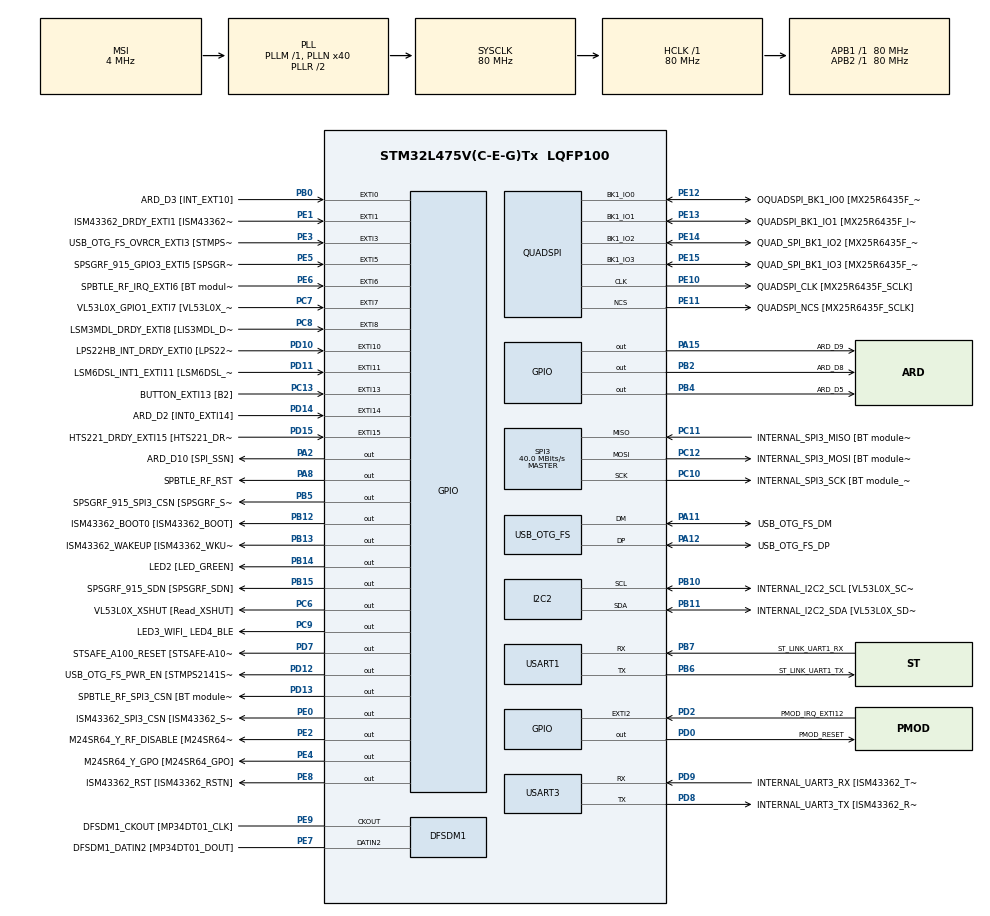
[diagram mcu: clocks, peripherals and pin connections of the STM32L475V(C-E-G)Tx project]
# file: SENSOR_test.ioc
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Mcu.Family=STM32L4
Mcu.Name=STM32L475V(C-E-G)Tx
Mcu.Package=LQFP100
NVIC.EXTI15_10_IRQn=true\:0\:0\:false\:false\:true\:true\:true
NVIC.EXTI9_5_IRQn=true\:0\:0\:false\:false\:true\:true\:true
NVIC.PriorityGroup=NVIC_PRIORITYGROUP_4
PA0.GPIO_Label=ARD_D1 [UART4_TX]
PA0.Signal=UART4_TX
PA1.GPIO_Label=ARD_D0 [UART4_RX]
PA1.Signal=UART4_RX
PA10.GPIO_Label=USB_OTG_FS_ID
PA10.Signal=USB_OTG_FS_ID
PA11.GPIO_Label=USB_OTG_FS_DM
PA11.Mode=Device_Only
PA11.Signal=USB_OTG_FS_DM
PA12.GPIO_Label=USB_OTG_FS_DP
PA12.Mode=Device_Only
PA12.Signal=USB_OTG_FS_DP
PA13\ (JTMS-SWDIO).GPIO_Label=SYS_JTMS_SWDIO
PA13\ (JTMS-SWDIO).Mode=Serial_Wire
PA13\ (JTMS-SWDIO).Signal=SYS_JTMS-SWDIO
PA14\ (JTCK-SWCLK).GPIO_Label=SYS_JTCK_SWCLK
PA14\ (JTCK-SWCLK).Mode=Serial_Wire
PA14\ (JTCK-SWCLK).Signal=SYS_JTCK-SWCLK
PA15\ (JTDI).GPIO_Label=ARD_D9
PA15\ (JTDI).Signal=GPIO_Output
PA2.GPIO_Label=ARD_D10 [SPI_SSN]
PA2.Signal=GPIO_Output
PA3.GPIO_Label=ARD_D4
PA3.Signal=S_TIM2_CH4
PA4.GPIO_Label=ARD_D7
PA4.Signal=ADCx_IN9
PA5.GPIO_Label=ARD_D13 [SPI1_SCK]
PA5.Signal=SPI1_SCK
PA6.GPIO_Label=ARD_D12 [SPI1_MISO]
PA6.Signal=SPI1_MISO
PA7.GPIO_Label=ARD_D11 [SPI1_MOSI]
PA7.Signal=SPI1_MOSI
PA8.GPIO_Label=SPBTLE_RF_RST
PA8.Signal=GPIO_Output
PA9.GPIO_Label=USB_OTG_FS_VBUS [STMPS2141STR_OUT]
PA9.Signal=USB_OTG_FS_VBUS
PB0.GPIO_Label=ARD_D3 [INT_EXT10]
PB0.Signal=GPXTI0
PB1.GPIO_Label=ARD_D6 [ADC1_IN6]
PB1.Signal=ADCx_IN16
PB10.GPIO_Label=INTERNAL_I2C2_SCL [VL53L0X_SCL]
PB10.Mode=I2C
PB10.Signal=I2C2_SCL
PB11.GPIO_Label=INTERNAL_I2C2_SDA [VL53L0X_SDA]
PB11.Mode=I2C
PB11.Signal=I2C2_SDA
PB12.GPIO_Label=ISM43362_BOOT0 [ISM43362_BOOT]
PB12.Signal=GPIO_Output
PB13.GPIO_Label=ISM43362_WAKEUP [ISM43362_WKUP]
PB13.Signal=GPIO_Output
PB14.GPIO_Label=LED2 [LED_GREEN]
PB14.Signal=GPIO_Output
PB15.GPIO_Label=SPSGRF_915_SDN [SPSGRF_SDN]
PB15.Signal=GPIO_Output
PB2.GPIO_Label=ARD_D8
PB2.Signal=GPIO_Output
PB3\ (JTDO-TRACESWO).GPIO_Label=SYS_JTD0_SWO
PB3\ (JTDO-TRACESWO).Signal=SYS_JTDO-SWO
PB4\ (NJTRST).GPIO_Label=ARD_D5
PB4\ (NJTRST).Signal=GPIO_Output
PB5.GPIO_Label=SPSGRF_915_SPI3_CSN [SPSGRF_SPI_CS]
PB5.PinState=GPIO_PIN_SET
PB5.Signal=GPIO_Output
PB6.GPIO_Label=ST_LINK_UART1_TX
PB6.Mode=Asynchronous
PB6.Signal=USART1_TX
PB7.GPIO_Label=ST_LINK_UART1_RX
PB7.Mode=Asynchronous
PB7.Signal=USART1_RX
PB8.GPIO_Label=ARD_D15 [I2C1_SCL]
PB8.Signal=I2C1_SCL
PB9.GPIO_Label=ARD_D14 [I2C1_SDA]
PB9.Signal=I2C1_SDA
PC0.GPIO_Label=ARD_A5 [ADC]
PC0.Signal=ADCx_IN1
PC1.GPIO_Label=ARD_A4 [ADC]
PC1.Signal=ADCx_IN2
PC10.GPIO_Label=INTERNAL_SPI3_SCK [BT module_SPI_SCLK] [ISM43362_SCK]
PC10.Mode=Full_Duplex_Master
PC10.Signal=SPI3_SCK
PC11.GPIO_Label=INTERNAL_SPI3_MISO [BT module_SPI_MISO] [ISM43362_MISO]
PC11.Mode=Full_Duplex_Master
PC11.Signal=SPI3_MISO
PC12.GPIO_Label=INTERNAL_SPI3_MOSI [BT module_SPI_MOSI] [ISM43362_MOSI]
PC12.Mode=Full_Duplex_Master
PC12.Signal=SPI3_MOSI
PC13.GPIO_Label=BUTTON_EXTI13 [B2]
PC13.GPIO_ModeDefaultEXTI=GPIO_MODE_IT_FALLING
PC13.Signal=GPXTI13
PC14-OSC32_IN\ (PC14).Mode=LSE-External-Oscillator
PC14-OSC32_IN\ (PC14).Signal=RCC_OSC32_IN
PC15-OSC32_OUT\ (PC15).Mode=LSE-External-Oscillator
PC15-OSC32_OUT\ (PC15).Signal=RCC_OSC32_OUT
PC2.GPIO_Label=ARD_A3 [ADC]
PC2.Signal=ADCx_IN3
PC3.GPIO_Label=ARD_A2 [ADC]
PC3.Signal=ADCx_IN4
PC4.GPIO_Label=ARD_A1 [ADC]
PC4.Signal=ADCx_IN13
PC5.GPIO_Label=ARD_A0 [ADC]
PC5.Signal=ADCx_IN14
PC6.GPIO_Label=VL53L0X_XSHUT [Read_XSHUT]
PC6.Signal=GPIO_Output
PC7.GPIO_Label=VL53L0X_GPIO1_EXTI7 [VL53L0X_GPIO1]
PC7.Signal=GPXTI7
PC8.GPIO_Label=LSM3MDL_DRDY_EXTI8 [LIS3MDL_DRDY]
PC8.Signal=GPXTI8
PC9.GPIO_Label=LED3_WIFI_ LED4_BLE
PC9.Signal=GPIO_Output
PD0.GPIO_Label=PMOD_RESET
PD0.Signal=GPIO_Output
PD1.GPIO_Label=PMOD_SPI2_SCK
PD1.Signal=SPI2_SCK
PD10.GPIO_Label=LPS22HB_INT_DRDY_EXTI0 [LPS22HB_INT_DRDY] 
PD10.Signal=GPXTI10
PD11.GPIO_Label=LSM6DSL_INT1_EXTI11 [LSM6DSL_INT1]
PD11.Signal=GPXTI11
PD12.GPIO_Label=USB_OTG_FS_PWR_EN [STMPS2141STR_EN]
PD12.Signal=GPIO_Output
PD13.GPIO_Label=SPBTLE_RF_SPI3_CSN [BT module_SPI_CS]
PD13.PinState=GPIO_PIN_SET
PD13.Signal=GPIO_Output
PD14.GPIO_Label=ARD_D2 [INT0_EXTI14]
PD14.Signal=GPXTI14
PD15.GPIO_Label=HTS221_DRDY_EXTI15 [HTS221_DRDY]
PD15.Signal=GPXTI15
PD2.GPIO_Label=PMOD_IRQ_EXTI12
PD2.Signal=GPXTI2
PD3.GPIO_Label=PMOD_UART2_CTS
PD3.Signal=USART2_CTS
PD4.GPIO_Label=PMOD_UART2_RTS
PD4.Signal=USART2_RTS
PD5.GPIO_Label=PMOD_UART2_TX
PD5.Signal=USART2_TX
PD6.GPIO_Label=PMOD_UART2_RX
PD6.Signal=USART2_RX
PD7.GPIO_Label=STSAFE_A100_RESET [STSAFE-A100_RESET]
PD7.Signal=GPIO_Output
PD8.GPIO_Label=INTERNAL_UART3_TX [ISM43362_RX]
PD8.Mode=Asynchronous
PD8.Signal=USART3_TX
PD9.GPIO_Label=INTERNAL_UART3_RX [ISM43362_TX]
PD9.Mode=Asynchronous
PD9.Signal=USART3_RX
PE0.GPIO_Label=ISM43362_SPI3_CSN [ISM43362_SSN]
PE0.PinState=GPIO_PIN_SET
PE0.Signal=GPIO_Output
PE1.GPIO_Label=ISM43362_DRDY_EXTI1 [ISM43362_DATARDY]
PE1.Signal=GPXTI1
PE10.GPIO_Label=QUADSPI_CLK [MX25R6435F_SCLK]
PE10.Mode=Single Bank
PE10.Signal=QUADSPI_CLK
PE11.GPIO_Label=QUADSPI_NCS [MX25R6435F_SCLK]
PE11.Mode=Single Bank
PE11.Signal=QUADSPI_NCS
PE12.GPIO_Label=OQUADSPI_BK1_IO0 [MX25R6435F_IO0]
PE12.Mode=Single Bank
PE12.Signal=QUADSPI_BK1_IO0
PE13.GPIO_Label=QUADSPI_BK1_IO1 [MX25R6435F_IO1]
PE13.Mode=Single Bank
PE13.Signal=QUADSPI_BK1_IO1
PE14.GPIO_Label=QUAD_SPI_BK1_IO2 [MX25R6435F_IO2]
PE14.Mode=Single Bank
PE14.Signal=QUADSPI_BK1_IO2
PE15.GPIO_Label=QUAD_SPI_BK1_IO3 [MX25R6435F_IO3]
PE15.Mode=Single Bank
PE15.Signal=QUADSPI_BK1_IO3
PE2.GPIO_Label=M24SR64_Y_RF_DISABLE [M24SR64_RFDIS]
PE2.Signal=GPIO_Output
PE3.GPIO_Label=USB_OTG_FS_OVRCR_EXTI3 [STMPS2141STR_FAULT]
PE3.Signal=GPXTI3
PE4.GPIO_Label=M24SR64_Y_GPO [M24SR64_GPO]
PE4.Signal=GPIO_Output
PE5.GPIO_Label=SPSGRF_915_GPIO3_EXTI5 [SPSGRF_GPIO_3]
PE5.Signal=GPXTI5
PE6.GPIO_Label=SPBTLE_RF_IRQ_EXTI6 [BT module_SPI_IRQ]
PE6.Signal=GPXTI6
PE7.GPIO_Label=DFSDM1_DATIN2 [MP34DT01_DOUT]
PE7.Signal=S_DATAIN2DFSDM1
PE8.GPIO_Label=ISM43362_RST [ISM43362_RSTN]
PE8.Signal=GPIO_Output
PE9.GPIO_Label=DFSDM1_CKOUT [MP34DT01_CLK]
PE9.Signal=S_CKOUTDFSDM1
ProjectManager.HeapSize=0x200
ProjectManager.StackSize=0x400
ProjectManager.TargetToolchain=TrueSTUDIO
QUADSPI.ClockPrescaler=2
QUADSPI.FifoThreshold=4
QUADSPI.FlashSize=23
QUADSPI.SampleShifting=QSPI_SAMPLE_SHIFTING_HALFCYCLE
RCC.ADCFreq_Value=48000000
RCC.AHBFreq_Value=80000000
RCC.APB1Freq_Value=80000000
RCC.APB1TimFreq_Value=80000000
RCC.APB2Freq_Value=80000000
RCC.APB2TimFreq_Value=80000000
RCC.CortexFreq_Value=80000000
RCC.HCLKFreq_Value=80000000
RCC.HSE_VALUE=8000000
RCC.HSI_VALUE=16000000
RCC.MSI_VALUE=4000000
RCC.PLLN=40
RCC.PLLSAI1N=24
RCC.SYSCLKFreq_VALUE=80000000
RCC.SYSCLKSource=RCC_SYSCLKSOURCE_PLLCLK
RCC.USBFreq_Value=48000000
RCC.VCOOutputFreq_Value=160000000
SH.ADCx_IN1.0=ADC1_IN1
SH.ADCx_IN13.0=ADC1_IN13
SH.ADCx_IN14.0=ADC1_IN14
SH.ADCx_IN16.0=ADC1_IN16
SH.ADCx_IN2.0=ADC1_IN2
SH.ADCx_IN3.0=ADC1_IN3
SH.ADCx_IN4.0=ADC1_IN4
SH.ADCx_IN9.0=ADC1_IN9
SH.S_CKOUTDFSDM1.0=DFSDM1_CKOUT,CKOUT
SH.S_CKOUTDFSDM1.1=DFSDM1_CKOUT,PDM_SPI_Input_from_ch12_and_Internal_Clock
SH.S_DATAIN2DFSDM1.0=DFSDM1_DATIN2,PDM_SPI_Input_from_ch12_and_Internal_Clock
SH.S_TIM2_CH4.0=TIM2_CH4
SPI3.CalculateBaudRate=40.0 MBits/s
SPI3.Direction=SPI_DIRECTION_2LINES
SPI3.Mode=SPI_MODE_MASTER
SPI3.VirtualType=VM_MASTER
USART1.VirtualMode-Asynchronous=VM_ASYNC
USART3.VirtualMode-Asynchronous=VM_ASYNC
USB_OTG_FS.VirtualMode=Device_Only
board=B-L475E-IOT01A1

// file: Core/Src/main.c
/* USER CODE BEGIN Header */
/**
  ******************************************************************************
  * @file           : main.c
  * @brief          : Main program body
  ******************************************************************************
  * @attention
  *
  * <h2><center>&copy; Copyright (c) 2021 STMicroelectronics.
  * All rights reserved.</center></h2>
  *
  * This software component is licensed by ST under BSD 3-Clause license,
  * the "License"; You may not use this file except in compliance with the
  * License. You may obtain a copy of the License at:
  *                        opensource.org/licenses/BSD-3-Clause
  *
  ******************************************************************************
  */
/* USER CODE END Header */
#include "main.h"

/* USER CODE BEGIN Includes */
#include "stm32l475e_iot01.h"
#include "stm32l475e_iot01_tsensor.h"
#include <math.h>
/* USER CODE END Includes */

DFSDM_Channel_HandleTypeDef hdfsdm1_channel1;

I2C_HandleTypeDef hi2c2;

QSPI_HandleTypeDef hqspi;

SPI_HandleTypeDef hspi3;

UART_HandleTypeDef huart1;
UART_HandleTypeDef huart3;

PCD_HandleTypeDef hpcd_USB_OTG_FS;

/* USER CODE BEGIN PV */
float temp_value = 0; // Measured temperature value
char str_tmp[100] = ""; // Formatted message to display the temperature value
uint8_t msg1[] = "****** Temperature values measurement ******\n\n\r";
uint8_t msg2[] = "=====> Initialize Temperature sensor HTS221 \r\n";
uint8_t msg3[] = "=====> Temperature sensor HTS221 initialized \r\n ";
/* USER CODE END PV */

void SystemClock_Config(void);
static void MX_GPIO_Init(void);
static void MX_DFSDM1_Init(void);
static void MX_I2C2_Init(void);
static void MX_QUADSPI_Init(void);
static void MX_SPI3_Init(void);
static void MX_USART1_UART_Init(void);
static void MX_USART3_UART_Init(void);
static void MX_USB_OTG_FS_PCD_Init(void);

int main(void)
{

  /* MCU Configuration--------------------------------------------------------*/

  /* Reset of all peripherals, Initializes the Flash interface and the Systick. */
  HAL_Init();

  /* Configure the system clock */
  SystemClock_Config();

  /* Initialize all configured peripherals */
  MX_GPIO_Init();
  MX_DFSDM1_Init();
  MX_I2C2_Init();
  MX_QUADSPI_Init();
  MX_SPI3_Init();
  MX_USART1_UART_Init();
  MX_USART3_UART_Init();
  MX_USB_OTG_FS_PCD_Init();
  /* USER CODE BEGIN 2 */
  HAL_UART_Transmit(&huart1,msg1,sizeof(msg1),1000);
  HAL_UART_Transmit(&huart1,msg2,sizeof(msg2),1000);
  BSP_TSENSOR_Init();
  HAL_UART_Transmit(&huart1,msg3,sizeof(msg3),1000);
  /* USER CODE END 2 */

  /* Infinite loop */
  while (1)
  {

    /* USER CODE BEGIN 3 */
	  temp_value = BSP_TSENSOR_ReadTemp();
	  int tmpInt1 = temp_value;
	  float tmpFrac = temp_value - tmpInt1;
	  int tmpInt2 = trunc(tmpFrac * 100);
	  snprintf(str_tmp,100," TEMPERATURE = %d.%02d\n\r", tmpInt1, tmpInt2);
	  HAL_UART_Transmit(&huart1,( uint8_t * )str_tmp,sizeof(str_tmp),1000);
  }
  /* USER CODE END 3 */
}

void SystemClock_Config(void)
{
  RCC_OscInitTypeDef RCC_OscInitStruct = {0};
  RCC_ClkInitTypeDef RCC_ClkInitStruct = {0};
  RCC_PeriphCLKInitTypeDef PeriphClkInit = {0};

  /** Configure LSE Drive Capability
  */
  HAL_PWR_EnableBkUpAccess();
  __HAL_RCC_LSEDRIVE_CONFIG(RCC_LSEDRIVE_LOW);
  /** Initializes the RCC Oscillators according to the specified parameters
  * in the RCC_OscInitTypeDef structure.
  */
  RCC_OscInitStruct.OscillatorType = RCC_OSCILLATORTYPE_LSE|RCC_OSCILLATORTYPE_MSI;
  RCC_OscInitStruct.LSEState = RCC_LSE_ON;
  RCC_OscInitStruct.MSIState = RCC_MSI_ON;
  RCC_OscInitStruct.MSICalibrationValue = 0;
  RCC_OscInitStruct.MSIClockRange = RCC_MSIRANGE_6;
  RCC_OscInitStruct.PLL.PLLState = RCC_PLL_ON;
  RCC_OscInitStruct.PLL.PLLSource = RCC_PLLSOURCE_MSI;
  RCC_OscInitStruct.PLL.PLLM = 1;
  RCC_OscInitStruct.PLL.PLLN = 40;
  RCC_OscInitStruct.PLL.PLLP = RCC_PLLP_DIV7;
  RCC_OscInitStruct.PLL.PLLQ = RCC_PLLQ_DIV2;
  RCC_OscInitStruct.PLL.PLLR = RCC_PLLR_DIV2;
  if (HAL_RCC_OscConfig(&RCC_OscInitStruct) != HAL_OK)
  {
    Error_Handler();
  }
  /** Initializes the CPU, AHB and APB buses clocks
  */
  RCC_ClkInitStruct.ClockType = RCC_CLOCKTYPE_HCLK|RCC_CLOCKTYPE_SYSCLK
                              |RCC_CLOCKTYPE_PCLK1|RCC_CLOCKTYPE_PCLK2;
  RCC_ClkInitStruct.SYSCLKSource = RCC_SYSCLKSOURCE_PLLCLK;
  RCC_ClkInitStruct.AHBCLKDivider = RCC_SYSCLK_DIV1;
  RCC_ClkInitStruct.APB1CLKDivider = RCC_HCLK_DIV1;
  RCC_ClkInitStruct.APB2CLKDivider = RCC_HCLK_DIV1;

  if (HAL_RCC_ClockConfig(&RCC_ClkInitStruct, FLASH_LATENCY_4) != HAL_OK)
  {
    Error_Handler();
  }
  PeriphClkInit.PeriphClockSelection = RCC_PERIPHCLK_USART1|RCC_PERIPHCLK_USART3
                              |RCC_PERIPHCLK_I2C2|RCC_PERIPHCLK_DFSDM1
                              |RCC_PERIPHCLK_USB;
  PeriphClkInit.Usart1ClockSelection = RCC_USART1CLKSOURCE_PCLK2;
  PeriphClkInit.Usart3ClockSelection = RCC_USART3CLKSOURCE_PCLK1;
  PeriphClkInit.I2c2ClockSelection = RCC_I2C2CLKSOURCE_PCLK1;
  PeriphClkInit.Dfsdm1ClockSelection = RCC_DFSDM1CLKSOURCE_PCLK;
  PeriphClkInit.UsbClockSelection = RCC_USBCLKSOURCE_PLLSAI1;
  PeriphClkInit.PLLSAI1.PLLSAI1Source = RCC_PLLSOURCE_MSI;
  PeriphClkInit.PLLSAI1.PLLSAI1M = 1;
  PeriphClkInit.PLLSAI1.PLLSAI1N = 24;
  PeriphClkInit.PLLSAI1.PLLSAI1P = RCC_PLLP_DIV7;
  PeriphClkInit.PLLSAI1.PLLSAI1Q = RCC_PLLQ_DIV2;
  PeriphClkInit.PLLSAI1.PLLSAI1R = RCC_PLLR_DIV2;
  PeriphClkInit.PLLSAI1.PLLSAI1ClockOut = RCC_PLLSAI1_48M2CLK;
  if (HAL_RCCEx_PeriphCLKConfig(&PeriphClkInit) != HAL_OK)
  {
    Error_Handler();
  }
  /** Configure the main internal regulator output voltage
  */
  if (HAL_PWREx_ControlVoltageScaling(PWR_REGULATOR_VOLTAGE_SCALE1) != HAL_OK)
  {
    Error_Handler();
  }
  /** Enable MSI Auto calibration
  */
  HAL_RCCEx_EnableMSIPLLMode();
}

static void MX_DFSDM1_Init(void)
{

  hdfsdm1_channel1.Instance = DFSDM1_Channel1;
  hdfsdm1_channel1.Init.OutputClock.Activation = ENABLE;
  hdfsdm1_channel1.Init.OutputClock.Selection = DFSDM_CHANNEL_OUTPUT_CLOCK_SYSTEM;
  hdfsdm1_channel1.Init.OutputClock.Divider = 2;
  hdfsdm1_channel1.Init.Input.Multiplexer = DFSDM_CHANNEL_EXTERNAL_INPUTS;
  hdfsdm1_channel1.Init.Input.DataPacking = DFSDM_CHANNEL_STANDARD_MODE;
  hdfsdm1_channel1.Init.Input.Pins = DFSDM_CHANNEL_FOLLOWING_CHANNEL_PINS;
  hdfsdm1_channel1.Init.SerialInterface.Type = DFSDM_CHANNEL_SPI_RISING;
  hdfsdm1_channel1.Init.SerialInterface.SpiClock = DFSDM_CHANNEL_SPI_CLOCK_INTERNAL;
  hdfsdm1_channel1.Init.Awd.FilterOrder = DFSDM_CHANNEL_FASTSINC_ORDER;
  hdfsdm1_channel1.Init.Awd.Oversampling = 1;
  hdfsdm1_channel1.Init.Offset = 0;
  hdfsdm1_channel1.Init.RightBitShift = 0x00;
  if (HAL_DFSDM_ChannelInit(&hdfsdm1_channel1) != HAL_OK)
  {
    Error_Handler();
  }

}

static void MX_I2C2_Init(void)
{

  hi2c2.Instance = I2C2;
  hi2c2.Init.Timing = 0x00000E14;
  hi2c2.Init.OwnAddress1 = 0;
  hi2c2.Init.AddressingMode = I2C_ADDRESSINGMODE_7BIT;
  hi2c2.Init.DualAddressMode = I2C_DUALADDRESS_DISABLE;
  hi2c2.Init.OwnAddress2 = 0;
  hi2c2.Init.OwnAddress2Masks = I2C_OA2_NOMASK;
  hi2c2.Init.GeneralCallMode = I2C_GENERALCALL_DISABLE;
  hi2c2.Init.NoStretchMode = I2C_NOSTRETCH_DISABLE;
  if (HAL_I2C_Init(&hi2c2) != HAL_OK)
  {
    Error_Handler();
  }
  /** Configure Analogue filter
  */
  if (HAL_I2CEx_ConfigAnalogFilter(&hi2c2, I2C_ANALOGFILTER_ENABLE) != HAL_OK)
  {
    Error_Handler();
  }
  /** Configure Digital filter
  */
  if (HAL_I2CEx_ConfigDigitalFilter(&hi2c2, 0) != HAL_OK)
  {
    Error_Handler();
  }

}

static void MX_QUADSPI_Init(void)
{

  /* QUADSPI parameter configuration*/
  hqspi.Instance = QUADSPI;
  hqspi.Init.ClockPrescaler = 2;
  hqspi.Init.FifoThreshold = 4;
  hqspi.Init.SampleShifting = QSPI_SAMPLE_SHIFTING_HALFCYCLE;
  hqspi.Init.FlashSize = 23;
  hqspi.Init.ChipSelectHighTime = QSPI_CS_HIGH_TIME_1_CYCLE;
  hqspi.Init.ClockMode = QSPI_CLOCK_MODE_0;
  if (HAL_QSPI_Init(&hqspi) != HAL_OK)
  {
    Error_Handler();
  }

}

static void MX_SPI3_Init(void)
{

  /* SPI3 parameter configuration*/
  hspi3.Instance = SPI3;
  hspi3.Init.Mode = SPI_MODE_MASTER;
  hspi3.Init.Direction = SPI_DIRECTION_2LINES;
  hspi3.Init.DataSize = SPI_DATASIZE_4BIT;
  hspi3.Init.CLKPolarity = SPI_POLARITY_LOW;
  hspi3.Init.CLKPhase = SPI_PHASE_1EDGE;
  hspi3.Init.NSS = SPI_NSS_SOFT;
  hspi3.Init.BaudRatePrescaler = SPI_BAUDRATEPRESCALER_2;
  hspi3.Init.FirstBit = SPI_FIRSTBIT_MSB;
  hspi3.Init.TIMode = SPI_TIMODE_DISABLE;
  hspi3.Init.CRCCalculation = SPI_CRCCALCULATION_DISABLE;
  hspi3.Init.CRCPolynomial = 7;
  hspi3.Init.CRCLength = SPI_CRC_LENGTH_DATASIZE;
  hspi3.Init.NSSPMode = SPI_NSS_PULSE_ENABLE;
  if (HAL_SPI_Init(&hspi3) != HAL_OK)
  {
    Error_Handler();
  }

}

static void MX_USART1_UART_Init(void)
{

  huart1.Instance = USART1;
  huart1.Init.BaudRate = 115200;
  huart1.Init.WordLength = UART_WORDLENGTH_8B;
  huart1.Init.StopBits = UART_STOPBITS_1;
  huart1.Init.Parity = UART_PARITY_NONE;
  huart1.Init.Mode = UART_MODE_TX_RX;
  huart1.Init.HwFlowCtl = UART_HWCONTROL_NONE;
  huart1.Init.OverSampling = UART_OVERSAMPLING_16;
  huart1.Init.OneBitSampling = UART_ONE_BIT_SAMPLE_DISABLE;
  huart1.AdvancedInit.AdvFeatureInit = UART_ADVFEATURE_NO_INIT;
  if (HAL_UART_Init(&huart1) != HAL_OK)
  {
    Error_Handler();
  }

}

static void MX_USART3_UART_Init(void)
{

  huart3.Instance = USART3;
  huart3.Init.BaudRate = 115200;
  huart3.Init.WordLength = UART_WORDLENGTH_8B;
  huart3.Init.StopBits = UART_STOPBITS_1;
  huart3.Init.Parity = UART_PARITY_NONE;
  huart3.Init.Mode = UART_MODE_TX_RX;
  huart3.Init.HwFlowCtl = UART_HWCONTROL_NONE;
  huart3.Init.OverSampling = UART_OVERSAMPLING_16;
  huart3.Init.OneBitSampling = UART_ONE_BIT_SAMPLE_DISABLE;
  huart3.AdvancedInit.AdvFeatureInit = UART_ADVFEATURE_NO_INIT;
  if (HAL_UART_Init(&huart3) != HAL_OK)
  {
    Error_Handler();
  }

}

static void MX_USB_OTG_FS_PCD_Init(void)
{

  hpcd_USB_OTG_FS.Instance = USB_OTG_FS;
  hpcd_USB_OTG_FS.Init.dev_endpoints = 6;
  hpcd_USB_OTG_FS.Init.speed = PCD_SPEED_FULL;
  hpcd_USB_OTG_FS.Init.phy_itface = PCD_PHY_EMBEDDED;
  hpcd_USB_OTG_FS.Init.Sof_enable = DISABLE;
  hpcd_USB_OTG_FS.Init.low_power_enable = DISABLE;
  hpcd_USB_OTG_FS.Init.lpm_enable = DISABLE;
  hpcd_USB_OTG_FS.Init.battery_charging_enable = DISABLE;
  hpcd_USB_OTG_FS.Init.use_dedicated_ep1 = DISABLE;
  hpcd_USB_OTG_FS.Init.vbus_sensing_enable = DISABLE;
  if (HAL_PCD_Init(&hpcd_USB_OTG_FS) != HAL_OK)
  {
    Error_Handler();
  }

}

static void MX_GPIO_Init(void)
{
  GPIO_InitTypeDef GPIO_InitStruct = {0};

  /* GPIO Ports Clock Enable */
  __HAL_RCC_GPIOE_CLK_ENABLE();
  __HAL_RCC_GPIOC_CLK_ENABLE();
  __HAL_RCC_GPIOA_CLK_ENABLE();
  __HAL_RCC_GPIOB_CLK_ENABLE();
  __HAL_RCC_GPIOD_CLK_ENABLE();

  /*Configure GPIO pin Output Level */
  HAL_GPIO_WritePin(GPIOE, M24SR64_Y_RF_DISABLE_Pin|M24SR64_Y_GPO_Pin|ISM43362_RST_Pin, GPIO_PIN_RESET);

  /*Configure GPIO pin Output Level */
  HAL_GPIO_WritePin(GPIOA, ARD_D10_Pin|SPBTLE_RF_RST_Pin|ARD_D9_Pin, GPIO_PIN_RESET);

  /*Configure GPIO pin Output Level */
  HAL_GPIO_WritePin(GPIOB, ARD_D8_Pin|ISM43362_BOOT0_Pin|ISM43362_WAKEUP_Pin|LED2_Pin
                          |SPSGRF_915_SDN_Pin|ARD_D5_Pin, GPIO_PIN_RESET);

  /*Configure GPIO pin Output Level */
  HAL_GPIO_WritePin(GPIOD, USB_OTG_FS_PWR_EN_Pin|PMOD_RESET_Pin|STSAFE_A100_RESET_Pin, GPIO_PIN_RESET);

  /*Configure GPIO pin Output Level */
  HAL_GPIO_WritePin(SPBTLE_RF_SPI3_CSN_GPIO_Port, SPBTLE_RF_SPI3_CSN_Pin, GPIO_PIN_SET);

  /*Configure GPIO pin Output Level */
  HAL_GPIO_WritePin(GPIOC, VL53L0X_XSHUT_Pin|LED3_WIFI__LED4_BLE_Pin, GPIO_PIN_RESET);

  /*Configure GPIO pin Output Level */
  HAL_GPIO_WritePin(SPSGRF_915_SPI3_CSN_GPIO_Port, SPSGRF_915_SPI3_CSN_Pin, GPIO_PIN_SET);

  /*Configure GPIO pin Output Level */
  HAL_GPIO_WritePin(ISM43362_SPI3_CSN_GPIO_Port, ISM43362_SPI3_CSN_Pin, GPIO_PIN_SET);

  /*Configure GPIO pins : M24SR64_Y_RF_DISABLE_Pin M24SR64_Y_GPO_Pin ISM43362_RST_Pin ISM43362_SPI3_CSN_Pin */
  GPIO_InitStruct.Pin = M24SR64_Y_RF_DISABLE_Pin|M24SR64_Y_GPO_Pin|ISM43362_RST_Pin|ISM43362_SPI3_CSN_Pin;
  GPIO_InitStruct.Mode = GPIO_MODE_OUTPUT_PP;
  GPIO_InitStruct.Pull = GPIO_NOPULL;
  GPIO_InitStruct.Speed = GPIO_SPEED_FREQ_LOW;
  HAL_GPIO_Init(GPIOE, &GPIO_InitStruct);

  /*Configure GPIO pins : USB_OTG_FS_OVRCR_EXTI3_Pin SPSGRF_915_GPIO3_EXTI5_Pin SPBTLE_RF_IRQ_EXTI6_Pin ISM43362_DRDY_EXTI1_Pin */
  GPIO_InitStruct.Pin = USB_OTG_FS_OVRCR_EXTI3_Pin|SPSGRF_915_GPIO3_EXTI5_Pin|SPBTLE_RF_IRQ_EXTI6_Pin|ISM43362_DRDY_EXTI1_Pin;
  GPIO_InitStruct.Mode = GPIO_MODE_IT_RISING;
  GPIO_InitStruct.Pull = GPIO_NOPULL;
  HAL_GPIO_Init(GPIOE, &GPIO_InitStruct);

  /*Configure GPIO pin : BUTTON_EXTI13_Pin */
  GPIO_InitStruct.Pin = BUTTON_EXTI13_Pin;
  GPIO_InitStruct.Mode = GPIO_MODE_IT_FALLING;
  GPIO_InitStruct.Pull = GPIO_NOPULL;
  HAL_GPIO_Init(BUTTON_EXTI13_GPIO_Port, &GPIO_InitStruct);

  /*Configure GPIO pins : ARD_A5_Pin ARD_A4_Pin ARD_A3_Pin ARD_A2_Pin
                           ARD_A1_Pin ARD_A0_Pin */
  GPIO_InitStruct.Pin = ARD_A5_Pin|ARD_A4_Pin|ARD_A3_Pin|ARD_A2_Pin
                          |ARD_A1_Pin|ARD_A0_Pin;
  GPIO_InitStruct.Mode = GPIO_MODE_ANALOG_ADC_CONTROL;
  GPIO_InitStruct.Pull = GPIO_NOPULL;
  HAL_GPIO_Init(GPIOC, &GPIO_InitStruct);

  /*Configure GPIO pins : ARD_D1_Pin ARD_D0_Pin */
  GPIO_InitStruct.Pin = ARD_D1_Pin|ARD_D0_Pin;
  GPIO_InitStruct.Mode = GPIO_MODE_AF_PP;
  GPIO_InitStruct.Pull = GPIO_NOPULL;
  GPIO_InitStruct.Speed = GPIO_SPEED_FREQ_VERY_HIGH;
  GPIO_InitStruct.Alternate = GPIO_AF8_UART4;
  HAL_GPIO_Init(GPIOA, &GPIO_InitStruct);

  /*Configure GPIO pins : ARD_D10_Pin SPBTLE_RF_RST_Pin ARD_D9_Pin */
  GPIO_InitStruct.Pin = ARD_D10_Pin|SPBTLE_RF_RST_Pin|ARD_D9_Pin;
  GPIO_InitStruct.Mode = GPIO_MODE_OUTPUT_PP;
  GPIO_InitStruct.Pull = GPIO_NOPULL;
  GPIO_InitStruct.Speed = GPIO_SPEED_FREQ_LOW;
  HAL_GPIO_Init(GPIOA, &GPIO_InitStruct);

  /*Configure GPIO pin : ARD_D4_Pin */
  GPIO_InitStruct.Pin = ARD_D4_Pin;
  GPIO_InitStruct.Mode = GPIO_MODE_AF_PP;
  GPIO_InitStruct.Pull = GPIO_NOPULL;
  GPIO_InitStruct.Speed = GPIO_SPEED_FREQ_LOW;
  GPIO_InitStruct.Alternate = GPIO_AF1_TIM2;
  HAL_GPIO_Init(ARD_D4_GPIO_Port, &GPIO_InitStruct);

  /*Configure GPIO pin : ARD_D7_Pin */
  GPIO_InitStruct.Pin = ARD_D7_Pin;
  GPIO_InitStruct.Mode = GPIO_MODE_ANALOG_ADC_CONTROL;
  GPIO_InitStruct.Pull = GPIO_NOPULL;
  HAL_GPIO_Init(ARD_D7_GPIO_Port, &GPIO_InitStruct);

  /*Configure GPIO pins : ARD_D13_Pin ARD_D12_Pin ARD_D11_Pin */
  GPIO_InitStruct.Pin = ARD_D13_Pin|ARD_D12_Pin|ARD_D11_Pin;
  GPIO_InitStruct.Mode = GPIO_MODE_AF_PP;
  GPIO_InitStruct.Pull = GPIO_NOPULL;
  GPIO_InitStruct.Speed = GPIO_SPEED_FREQ_VERY_HIGH;
  GPIO_InitStruct.Alternate = GPIO_AF5_SPI1;
  HAL_GPIO_Init(GPIOA, &GPIO_InitStruct);

  /*Configure GPIO pin : ARD_D3_Pin */
  GPIO_InitStruct.Pin = ARD_D3_Pin;
  GPIO_InitStruct.Mode = GPIO_MODE_IT_RISING;
  GPIO_InitStruct.Pull = GPIO_NOPULL;
  HAL_GPIO_Init(ARD_D3_GPIO_Port, &GPIO_InitStruct);

  /*Configure GPIO pin : ARD_D6_Pin */
  GPIO_InitStruct.Pin = ARD_D6_Pin;
  GPIO_InitStruct.Mode = GPIO_MODE_ANALOG_ADC_CONTROL;
  GPIO_InitStruct.Pull = GPIO_NOPULL;
  HAL_GPIO_Init(ARD_D6_GPIO_Port, &GPIO_InitStruct);

  /*Configure GPIO pins : ARD_D8_Pin ISM43362_BOOT0_Pin ISM43362_WAKEUP_Pin LED2_Pin
                           SPSGRF_915_SDN_Pin ARD_D5_Pin SPSGRF_915_SPI3_CSN_Pin */
  GPIO_InitStruct.Pin = ARD_D8_Pin|ISM43362_BOOT0_Pin|ISM43362_WAKEUP_Pin|LED2_Pin
                          |SPSGRF_915_SDN_Pin|ARD_D5_Pin|SPSGRF_915_SPI3_CSN_Pin;
  GPIO_InitStruct.Mode = GPIO_MODE_OUTPUT_PP;
  GPIO_InitStruct.Pull = GPIO_NOPULL;
  GPIO_InitStruct.Speed = GPIO_SPEED_FREQ_LOW;
  HAL_GPIO_Init(GPIOB, &GPIO_InitStruct);

  /*Configure GPIO pins : LPS22HB_INT_DRDY_EXTI0_Pin LSM6DSL_INT1_EXTI11_Pin ARD_D2_Pin HTS221_DRDY_EXTI15_Pin
                           PMOD_IRQ_EXTI12_Pin */
  GPIO_InitStruct.Pin = LPS22HB_INT_DRDY_EXTI0_Pin|LSM6DSL_INT1_EXTI11_Pin|ARD_D2_Pin|HTS221_DRDY_EXTI15_Pin
                          |PMOD_IRQ_EXTI12_Pin;
  GPIO_InitStruct.Mode = GPIO_MODE_IT_RISING;
  GPIO_InitStruct.Pull = GPIO_NOPULL;
  HAL_GPIO_Init(GPIOD, &GPIO_InitStruct);

  /*Configure GPIO pins : USB_OTG_FS_PWR_EN_Pin SPBTLE_RF_SPI3_CSN_Pin PMOD_RESET_Pin STSAFE_A100_RESET_Pin */
  GPIO_InitStruct.Pin = USB_OTG_FS_PWR_EN_Pin|SPBTLE_RF_SPI3_CSN_Pin|PMOD_RESET_Pin|STSAFE_A100_RESET_Pin;
  GPIO_InitStruct.Mode = GPIO_MODE_OUTPUT_PP;
  GPIO_InitStruct.Pull = GPIO_NOPULL;
  GPIO_InitStruct.Speed = GPIO_SPEED_FREQ_LOW;
  HAL_GPIO_Init(GPIOD, &GPIO_InitStruct);

  /*Configure GPIO pins : VL53L0X_XSHUT_Pin LED3_WIFI__LED4_BLE_Pin */
  GPIO_InitStruct.Pin = VL53L0X_XSHUT_Pin|LED3_WIFI__LED4_BLE_Pin;
  GPIO_InitStruct.Mode = GPIO_MODE_OUTPUT_PP;
  GPIO_InitStruct.Pull = GPIO_NOPULL;
  GPIO_InitStruct.Speed = GPIO_SPEED_FREQ_LOW;
  HAL_GPIO_Init(GPIOC, &GPIO_InitStruct);

  /*Configure GPIO pins : VL53L0X_GPIO1_EXTI7_Pin LSM3MDL_DRDY_EXTI8_Pin */
  GPIO_InitStruct.Pin = VL53L0X_GPIO1_EXTI7_Pin|LSM3MDL_DRDY_EXTI8_Pin;
  GPIO_InitStruct.Mode = GPIO_MODE_IT_RISING;
  GPIO_InitStruct.Pull = GPIO_NOPULL;
  HAL_GPIO_Init(GPIOC, &GPIO_InitStruct);

  /*Configure GPIO pin : PMOD_SPI2_SCK_Pin */
  GPIO_InitStruct.Pin = PMOD_SPI2_SCK_Pin;
  GPIO_InitStruct.Mode = GPIO_MODE_AF_PP;
  GPIO_InitStruct.Pull = GPIO_NOPULL;
  GPIO_InitStruct.Speed = GPIO_SPEED_FREQ_VERY_HIGH;
  GPIO_InitStruct.Alternate = GPIO_AF5_SPI2;
  HAL_GPIO_Init(PMOD_SPI2_SCK_GPIO_Port, &GPIO_InitStruct);

  /*Configure GPIO pins : PMOD_UART2_CTS_Pin PMOD_UART2_RTS_Pin PMOD_UART2_TX_Pin PMOD_UART2_RX_Pin */
  GPIO_InitStruct.Pin = PMOD_UART2_CTS_Pin|PMOD_UART2_RTS_Pin|PMOD_UART2_TX_Pin|PMOD_UART2_RX_Pin;
  GPIO_InitStruct.Mode = GPIO_MODE_AF_PP;
  GPIO_InitStruct.Pull = GPIO_NOPULL;
  GPIO_InitStruct.Speed = GPIO_SPEED_FREQ_VERY_HIGH;
  GPIO_InitStruct.Alternate = GPIO_AF7_USART2;
  HAL_GPIO_Init(GPIOD, &GPIO_InitStruct);

  /*Configure GPIO pins : ARD_D15_Pin ARD_D14_Pin */
  GPIO_InitStruct.Pin = ARD_D15_Pin|ARD_D14_Pin;
  GPIO_InitStruct.Mode = GPIO_MODE_AF_OD;
  GPIO_InitStruct.Pull = GPIO_PULLUP;
  GPIO_InitStruct.Speed = GPIO_SPEED_FREQ_VERY_HIGH;
  GPIO_InitStruct.Alternate = GPIO_AF4_I2C1;
  HAL_GPIO_Init(GPIOB, &GPIO_InitStruct);

  /* EXTI interrupt init*/
  HAL_NVIC_SetPriority(EXTI9_5_IRQn, 0, 0);
  HAL_NVIC_EnableIRQ(EXTI9_5_IRQn);

  HAL_NVIC_SetPriority(EXTI15_10_IRQn, 0, 0);
  HAL_NVIC_EnableIRQ(EXTI15_10_IRQn);

}

void Error_Handler(void)
{
  __disable_irq();
  while (1)
  {
  }
}

/************************ (C) COPYRIGHT STMicroelectronics *****END OF FILE****/
